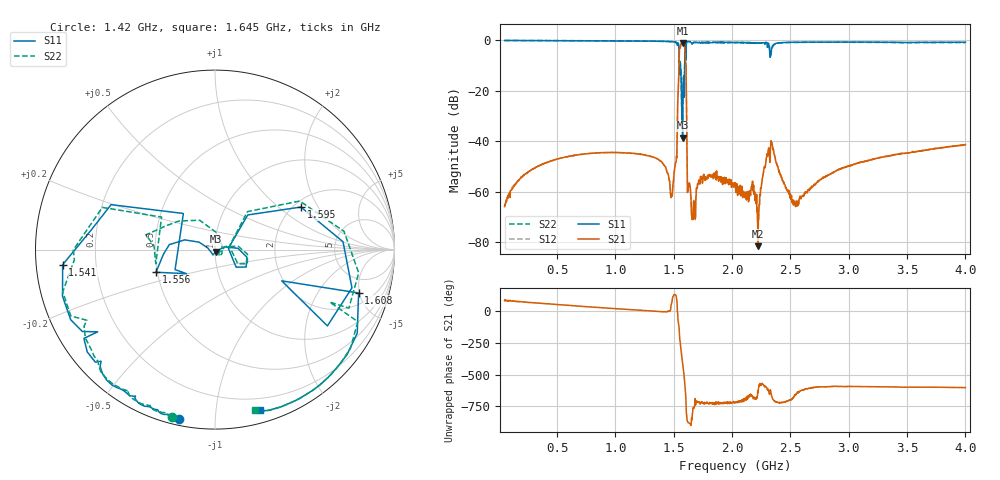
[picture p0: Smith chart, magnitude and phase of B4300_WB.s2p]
! Matrix data file written by TouchstoneData, EPCOS AG
! FILENAME: "LY26A_9_WB.s2p_newformat"
! COMMENT: "(LY26A_9_WB.s2p) EPCOS AG 23.02.2010 15:22:2"
! INFO: nport=2, nfreq=1601
! DATE: "Thu May 20 11:04:25 2010"
! USER: "Michael Schemies"
! port | pin | signal
!  1  |  1  |  in
!  2  |  4  |  out
# MHZ S MA R 50
! freq  magS11 angS11  magS21 angS21  magS12 angS12  magS22 angS22
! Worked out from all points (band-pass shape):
!   1601 points, 50 MHz to 4 GHz, reference 50 ohm
!   highest |S21| = -0.95 dB at 1.578 GHz (marker M1); lowest = -81.5 dB at 2.223 GHz (marker M2)
!   |S21| within 3 dB of the highest: 1.548 GHz to 1.596 GHz (47.25 MHz wide, 3.01 % of centre)
!   lowest |S11| = -38.5 dB at 1.576 GHz (marker M3), VSWR 1.02, Z = 50.5 - j1.08 ohm
!   |S11| at or under -10 dB: 1.54805 GHz to 1.555432 GHz (7.381 MHz wide, 0.476 % of centre); 1.557 GHz to 1.594 GHz (36.34 MHz wide, 2.31 % of centre)
!   |S22| runs from -31.1 to 0.0 dB; largest |S21 - S12| = 0.0023
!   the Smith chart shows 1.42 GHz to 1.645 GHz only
!   S11 on the Smith chart (normalised r, x): 1.42 GHz: 0.03, -0.81; 1.541 GHz: 0.08, -0.05; 1.556 GHz: 0.49, -0.14; 1.595 GHz: 2.18, +1.45; 1.608 GHz: 3.06, -4.91; 1.645 GHz: 0.10, -1.32
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50  0.9981 -3.6  0.0005196 84.6  0.0004896 81.8  0.9983 -3.6
709.1562  0.9897 -50.9  0.005528 39.5  0.005526 39.6  0.989 -51.9
1368.312  0.9675 -96.4  0.004402 -1.1  0.004417 -1.3  0.9634 -98.4
1420.156  0.963 -102.1  0.003309 -2.8  0.003306 -2.2  0.9605 -104.3
1491.75  0.9379 -118.5  0.001279 114.7  0.001277 113.5  0.9294 -121.4
1511.5  0.9478 -127.3  0.003328 132.5  0.003319 132.8  0.937 -130.7
1541.125  0.8529 -174.4  0.1477 -99.8  0.1478 -99.9  0.7858 -175.8
1555.938  0.3523 -159.0  0.7203 104.5  0.719 104.5  0.3936 167.9
1575.688  0.01186 -64.9  0.8922 -44.7  0.8915 -44.7  0.02797 -39.7
1578.156  0.05483 16.3  0.8965 -63.1  0.8952 -63.2  0.0606 16.9
1595.438  0.5342 26.4  0.6414 131.8  0.6404 131.8  0.5442 29.8
1607.781  0.8358 -16.8  0.1032 -75.0  0.1029 -75.1  0.8913 -26.8
1644.812  0.9277 -74.3  0.0009091 -173.3  0.0009141 -175.7  0.9207 -75.8
2025  0.9096 -107.7  0.001526 4.8  0.001543 5.2  0.9207 -111.0
2222.5  0.8989 -120.5  8.436e-05 78.3  9.863e-05 67.8  0.8816 -124.2
2301.5  0.817 -154.2  0.005757 105.7  0.005755 105.4  0.8617 -158.3
2328.656  0.474 22.8  0.007026 101.3  0.007003 101.2  0.5321 67.2
2375.562  0.8717 -94.8  0.004001 7.4  0.00399 7.6  0.8596 -91.9
2533.562  0.9214 -114.4  0.0005616 55.0  0.0005717 57.4  0.9137 -115.9
2684.156  0.9259 -120.3  0.001302 116.4  0.001301 115.9  0.9179 -122.7
3343.312  0.922 -134.9  0.005163 124.4  0.005152 124.4  0.9121 -138.5
4000  0.93 -142.7  0.008651 118.1  0.008695 120.3  0.9258 -147.9
